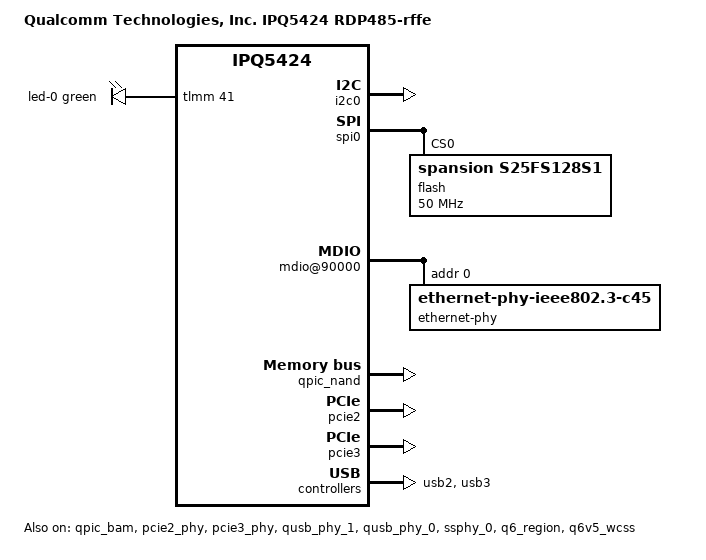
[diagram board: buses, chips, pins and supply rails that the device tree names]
// SPDX-License-Identifier: (GPL-2.0+ OR BSD-3-Clause)
/*
 * IPQ5424 RDP485-rffe board device tree source
 *
 * Copyright (c) 2020-2021 The Linux Foundation. All rights reserved.
 * Copyright (c) 2022-2024 Qualcomm Innovation Center, Inc. All rights reserved.
 */

/dts-v1/;

#include "ipq5424-rdp-common.dtsi"

/ {
	model = "Qualcomm Technologies, Inc. IPQ5424 RDP485-rffe";
	compatible = "qcom,ipq5424-rdp485-rffe", "qcom,ipq5424";

	soc@0 {
		qupv3: geniqup@1ac0000 {

			i2c0: i2c@1a88000 {
				pinctrl-0 = <&qup_i2c0_default>;
				pinctrl-names = "default";
				status = "okay";
			};

			spi0: spi@1a90000 {
				pinctrl-0 = <&qup_spi0_default>;
				pinctrl-names = "default";
				status = "okay";

				flash@0 {
					compatible = "spansion,s25fs128s1", "jedec,spi-nor";
					#address-cells = <1>;
					#size-cells = <1>;
					reg = <0>;
					spi-max-frequency = <50000000>;
				};
			};
		};

		leds {
			compatible = "gpio-leds";
			pinctrl-0 = <&gpio_leds_default>;
			pinctrl-names = "default";

			led-0 {
				color = <LED_COLOR_ID_GREEN>;
				function = LED_FUNCTION_WLAN;
				gpios = <&tlmm 41 GPIO_ACTIVE_HIGH>;
				linux,default-trigger = "phy0tx";
				default-state = "off";
			};
		};

		mdio@90000 {
			ethernet-phy@4 {
				reg = <0>;
				 compatible ="ethernet-phy-ieee802.3-c45";
			};
		};

		ess-instance {
			ess-switch@3a000000 {
				switch_cpu_bmp = <0x1>;  /* cpu port bitmap */
				switch_lan_bmp = <0xc>; /* lan port bitmap */
				switch_wan_bmp = <0x2>; /* wan port bitmap */
				switch_mac_mode = <0xe>; /* mac mode for uniphy instance0*/
				switch_mac_mode1 = <0xd>; /* mac mode for uniphy instance1*/

				qcom,port_phyinfo {
					port@0 {
						port_id = <1>;
						media-type = "sfp"; /* fiber mode */
						sfp_rx_los_pin = <&tlmm 0xffff GPIO_ACTIVE_HIGH>;
					};
					port@1 {
						port_id = <2>;
						phy_address = <0>;
						ethernet-phy-ieee802.3-c45;
					};
				};
			};

			ess-switch1@1 {
				link-intr-gpio = <&tlmm 41 GPIO_ACTIVE_HIGH>;
			};
		};
	};
};

&qpic_bam {
	status = "okay";
};

&qpic_nand {
	status = "okay";
};

&pcie2_phy {
	status = "okay";
};

&pcie2 {
	status = "okay";

	pcie2_rp {
		reg = <0 0 0 0 0>;

		qcom,mhi@0 {
			reg = <0 0 0 0 0>;
		};
	};
};

&pcie3_phy {
	status = "okay";
};

&pcie3 {
	status = "okay";

	pcie3_rp {
		reg = <0 0 0 0 0>;

		qcom,mhi@0 {
			reg = <0 0 0 0 0>;
		};
	};
};

&qusb_phy_1 {
	status = "okay";
};

&usb2 {
	status = "okay";
};

&qusb_phy_0 {
	status = "okay";
};

&ssphy_0 {
	status = "okay";
};

&usb3 {
	status = "okay";
};

&q6_region {
	status = "okay";
};

&q6v5_wcss {
	status = "okay";
};

&tlmm {
	gpio_leds_default: gpio-leds-default-state {
		pins = "gpio41";
		function = "gpio";
		drive-strength = <8>;
		bias-pull-down;
	};
};
